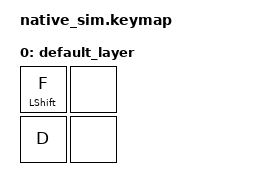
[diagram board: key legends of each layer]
#include <dt-bindings/zmk/keys.h>
#include <behaviors.dtsi>
#include <dt-bindings/zmk/kscan_mock.h>

/ {
    behaviors {
        ht_bal: behavior_balanced {
            compatible = "zmk,behavior-hold-tap";
            #binding-cells = <2>;
            flavor = "balanced";
            tapping-term-ms = <300>;
            bindings = <&kp>, <&kp>;
            retro-tap;
        };
    };

    keymap {
        compatible = "zmk,keymap";

        default_layer {
            bindings = <&ht_bal LEFT_SHIFT F &none
                        &kp D &none>;
        };
    };
};

&kscan {
    events = <
              /* tap */
              ZMK_MOCK_PRESS(0,0,10)
              ZMK_MOCK_RELEASE(0,0,10)
              /* retro tap */
              ZMK_MOCK_PRESS(0,0,400)
              ZMK_MOCK_RELEASE(0,0,10)
              /* hold  */
              ZMK_MOCK_PRESS(0,0,400)
              ZMK_MOCK_PRESS(1,0,10)
              ZMK_MOCK_RELEASE(1,0,10)
              ZMK_MOCK_RELEASE(0,0,10)>;
};
